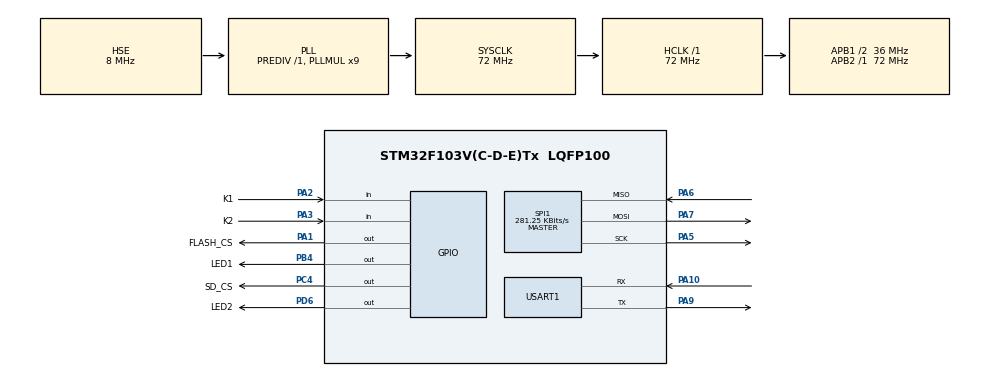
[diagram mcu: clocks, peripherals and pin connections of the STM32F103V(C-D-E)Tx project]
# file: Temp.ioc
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Mcu.Family=STM32F1
Mcu.Name=STM32F103V(C-D-E)Tx
Mcu.Package=LQFP100
NVIC.PriorityGroup=NVIC_PRIORITYGROUP_4
NVIC.USART1_IRQn=true\:0\:0\:false\:false\:true\:true\:true\:true
OSC_IN.Mode=HSE-External-Oscillator
OSC_IN.Signal=RCC_OSC_IN
OSC_OUT.Mode=HSE-External-Oscillator
OSC_OUT.Signal=RCC_OSC_OUT
PA1.GPIO_Label=FLASH_CS
PA1.GPIO_ModeDefaultOutputPP=GPIO_MODE_OUTPUT_PP
PA1.GPIO_PuPd=GPIO_PULLUP
PA1.GPIO_Speed=GPIO_SPEED_FREQ_HIGH
PA1.PinState=GPIO_PIN_SET
PA1.Signal=GPIO_Output
PA10.Mode=Asynchronous
PA10.Signal=USART1_RX
PA13.Mode=Serial_Wire
PA13.Signal=SYS_JTMS-SWDIO
PA14.Mode=Serial_Wire
PA14.Signal=SYS_JTCK-SWCLK
PA2.GPIO_Label=K1
PA2.Signal=GPIO_Input
PA3.GPIO_Label=K2
PA3.Signal=GPIO_Input
PA5.Mode=Full_Duplex_Master
PA5.Signal=SPI1_SCK
PA6.Mode=Full_Duplex_Master
PA6.Signal=SPI1_MISO
PA7.Mode=Full_Duplex_Master
PA7.Signal=SPI1_MOSI
PA9.Mode=Asynchronous
PA9.Signal=USART1_TX
PB4.GPIO_Label=LED1
PB4.GPIO_ModeDefaultOutputPP=GPIO_MODE_OUTPUT_PP
PB4.GPIO_PuPd=GPIO_PULLUP
PB4.GPIO_Speed=GPIO_SPEED_FREQ_HIGH
PB4.PinState=GPIO_PIN_SET
PB4.Signal=GPIO_Output
PC14-OSC32_IN.Mode=LSE-External-Oscillator
PC14-OSC32_IN.Signal=RCC_OSC32_IN
PC15-OSC32_OUT.Mode=LSE-External-Oscillator
PC15-OSC32_OUT.Signal=RCC_OSC32_OUT
PC4.GPIO_Label=SD_CS
PC4.GPIO_ModeDefaultOutputPP=GPIO_MODE_OUTPUT_PP
PC4.GPIO_PuPd=GPIO_PULLUP
PC4.GPIO_Speed=GPIO_SPEED_FREQ_HIGH
PC4.PinState=GPIO_PIN_SET
PC4.Signal=GPIO_Output
PD6.GPIO_Label=LED2
PD6.GPIO_ModeDefaultOutputPP=GPIO_MODE_OUTPUT_PP
PD6.GPIO_PuPd=GPIO_PULLUP
PD6.GPIO_Speed=GPIO_SPEED_FREQ_HIGH
PD6.PinState=GPIO_PIN_SET
PD6.Signal=GPIO_Output
ProjectManager.HeapSize=0x200
ProjectManager.StackSize=0x400
ProjectManager.TargetToolchain=MDK-ARM V5.32
RCC.AHBFreq_Value=72000000
RCC.APB1CLKDivider=RCC_HCLK_DIV2
RCC.APB1Freq_Value=36000000
RCC.APB1TimFreq_Value=72000000
RCC.APB2Freq_Value=72000000
RCC.APB2TimFreq_Value=72000000
RCC.HCLKFreq_Value=72000000
RCC.PLLMUL=RCC_PLL_MUL9
RCC.PLLSourceVirtual=RCC_PLLSOURCE_HSE
RCC.RCC_MCOSource=RCC_MCO1SOURCE_PLLCLK
RCC.SYSCLKFreq_VALUE=72000000
RCC.SYSCLKSource=RCC_SYSCLKSOURCE_PLLCLK
RCC.USBFreq_Value=72000000
SPI1.BaudRatePrescaler=SPI_BAUDRATEPRESCALER_256
SPI1.CLKPhase=SPI_PHASE_2EDGE
SPI1.CLKPolarity=SPI_POLARITY_HIGH
SPI1.CalculateBaudRate=281.25 KBits/s
SPI1.Direction=SPI_DIRECTION_2LINES
SPI1.Mode=SPI_MODE_MASTER
SPI1.VirtualType=VM_MASTER
USART1.VirtualMode=VM_ASYNC
board=custom

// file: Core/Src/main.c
/* USER CODE BEGIN Header */
/**
  ******************************************************************************
  * @file           : main.c
  * @brief          : Main program body
  ******************************************************************************
  * @attention
  *
  * Copyright (c) 2025 STMicroelectronics.
  * All rights reserved.
  *
  * This software is licensed under terms that can be found in the LICENSE file
  * in the root directory of this software component.
  * If no LICENSE file comes with this software, it is provided AS-IS.
  *
  ******************************************************************************
  */
/* USER CODE END Header */
#include "main.h"

/* USER CODE BEGIN Includes */
#include "stdio.h"
#include "bsp_sd_card.h"
/* USER CODE END Includes */

/* USER CODE BEGIN PTD */
uint8_t rx_buff[100];
uint8_t rx_done = 0;
uint8_t rx_cnt = 0;
/* USER CODE END PTD */

/* USER CODE BEGIN PD */
//SD_CardInfo SD_Info;
/* USER CODE END PD */

SPI_HandleTypeDef hspi1;

UART_HandleTypeDef huart1;

void SystemClock_Config(void);
static void MX_GPIO_Init(void);
static void MX_USART1_UART_Init(void);
static void MX_SPI1_Init(void);
/* USER CODE BEGIN PFP */
// 测试用缓冲区
uint8_t write_buffer[512];
uint8_t read_buffer[512];

// 填充测试数据（0x00~0xFF循环）
void fill_test_pattern(uint8_t* buf) {
    for (uint16_t i = 0; i < 512; i++) {
        buf[i] = i % 256;
    }
}

// 数据校验函数
uint8_t verify_data(uint8_t* buf1, uint8_t* buf2) {
    for (uint16_t i = 0; i < 512; i++) {
        if (buf1[i] != buf2[i]) {
            printf("Data is inconsistent @ offset %d: Written=0x%02X, Read=0x%02X\r\n", i, buf1[i], buf2[i]);
            return 0;
        }
    }
    return 1;
}
/* USER CODE END PFP */

int main(void)
{

  /* MCU Configuration--------------------------------------------------------*/

  /* Reset of all peripherals, Initializes the Flash interface and the Systick. */
  HAL_Init();

  /* Configure the system clock */
  SystemClock_Config();

  /* Initialize all configured peripherals */
  MX_GPIO_Init();
  MX_USART1_UART_Init();
  MX_SPI1_Init();
  /* USER CODE BEGIN 2 */
    printf("\r\n===== SD Card Read/Write Test Start =====\r\n\r\n");

    // 1. Initialize SD Card
    uint8_t ret = SD_Init();
    if (ret != 0) {
        printf("[ERROR] SD Card Initialization Failed. Error Code: 0x%02X\r\n", ret);
        while(1); // Halt if initialization fails
    }
    printf("[INFO] SD Card Initialized Successfully!\r\n");

    // 2. Get and Display Capacity Information
    uint32_t capacity = SD_GetCapacity();
    printf("[INFO] Total Sectors: %lu (Approx %.2f GB)\r\n",
           capacity, (float)capacity * 512 / 1000 / 1000 / 1000);

    // 3. Prepare Test Data
    fill_test_pattern(write_buffer);
    const uint32_t test_sector = 1000; // Test sector (avoid overwriting critical data)

    // 4. Write Test
    printf("[TEST] Writing to Sector %lu...\r\n", test_sector);
    ret = SD_WriteBlock(test_sector, write_buffer);
    if (ret != 0) {
        printf("[ERROR] Sector Write Failed. Error Code: 0x%02X\r\n", ret);
        while(1);
    }
    printf("[TEST] Write Successful. Waiting 1 second...\r\n");
    HAL_Delay(1000); // Ensure data is physically written

    // 5. Read Test
    printf("[TEST] Reading from Sector %lu...\r\n", test_sector);
    ret = SD_ReadBlock(test_sector, read_buffer);
    if (ret != 0) {
        printf("[ERROR] Sector Read Failed. Error Code: 0x%02X\r\n", ret);
        while(1);
    }

    // 6. Data Verification
    printf("[TEST] Verifying Data...\r\n");
    if (verify_data(write_buffer, read_buffer)) {
        printf("[RESULT] Test Passed! Read/Write Data Matched!\r\n");
    } else {
        printf("[ERROR] Test Failed! Data Mismatch Detected!\r\n");
    }

  printf("\r\n================== Test Completed ===========\r\n");
  /* USER CODE END 2 */

  /* Infinite loop */
  while (1)
  {

    /* USER CODE BEGIN 3 */
    if(rx_done == 1)
    {
        rx_done = 0;

        printf("length of rx data: %d!\r\n",rx_cnt);
        for(int i = 0;i<rx_cnt;i++) printf("%c",rx_buff[i]);
        printf("\r\n");

        rx_cnt =0;
    }
    HAL_GPIO_TogglePin(LED1_GPIO_Port, LED1_Pin);
  }
  /* USER CODE END 3 */
}

void SystemClock_Config(void)
{
  RCC_OscInitTypeDef RCC_OscInitStruct = {0};
  RCC_ClkInitTypeDef RCC_ClkInitStruct = {0};

  /** Initializes the RCC Oscillators according to the specified parameters
  * in the RCC_OscInitTypeDef structure.
  */
  RCC_OscInitStruct.OscillatorType = RCC_OSCILLATORTYPE_HSE;
  RCC_OscInitStruct.HSEState = RCC_HSE_ON;
  RCC_OscInitStruct.HSEPredivValue = RCC_HSE_PREDIV_DIV1;
  RCC_OscInitStruct.HSIState = RCC_HSI_ON;
  RCC_OscInitStruct.PLL.PLLState = RCC_PLL_ON;
  RCC_OscInitStruct.PLL.PLLSource = RCC_PLLSOURCE_HSE;
  RCC_OscInitStruct.PLL.PLLMUL = RCC_PLL_MUL9;
  if (HAL_RCC_OscConfig(&RCC_OscInitStruct) != HAL_OK)
  {
    Error_Handler();
  }

  /** Initializes the CPU, AHB and APB buses clocks
  */
  RCC_ClkInitStruct.ClockType = RCC_CLOCKTYPE_HCLK|RCC_CLOCKTYPE_SYSCLK
                              |RCC_CLOCKTYPE_PCLK1|RCC_CLOCKTYPE_PCLK2;
  RCC_ClkInitStruct.SYSCLKSource = RCC_SYSCLKSOURCE_PLLCLK;
  RCC_ClkInitStruct.AHBCLKDivider = RCC_SYSCLK_DIV1;
  RCC_ClkInitStruct.APB1CLKDivider = RCC_HCLK_DIV2;
  RCC_ClkInitStruct.APB2CLKDivider = RCC_HCLK_DIV1;

  if (HAL_RCC_ClockConfig(&RCC_ClkInitStruct, FLASH_LATENCY_2) != HAL_OK)
  {
    Error_Handler();
  }
}

static void MX_SPI1_Init(void)
{

  /* SPI1 parameter configuration*/
  hspi1.Instance = SPI1;
  hspi1.Init.Mode = SPI_MODE_MASTER;
  hspi1.Init.Direction = SPI_DIRECTION_2LINES;
  hspi1.Init.DataSize = SPI_DATASIZE_8BIT;
  hspi1.Init.CLKPolarity = SPI_POLARITY_HIGH;
  hspi1.Init.CLKPhase = SPI_PHASE_2EDGE;
  hspi1.Init.NSS = SPI_NSS_SOFT;
  hspi1.Init.BaudRatePrescaler = SPI_BAUDRATEPRESCALER_256;
  hspi1.Init.FirstBit = SPI_FIRSTBIT_MSB;
  hspi1.Init.TIMode = SPI_TIMODE_DISABLE;
  hspi1.Init.CRCCalculation = SPI_CRCCALCULATION_DISABLE;
  hspi1.Init.CRCPolynomial = 10;
  if (HAL_SPI_Init(&hspi1) != HAL_OK)
  {
    Error_Handler();
  }
  /* USER CODE BEGIN SPI1_Init 2 */
	__HAL_SPI_ENABLE(&hspi1);

  /* USER CODE END SPI1_Init 2 */

}

static void MX_USART1_UART_Init(void)
{

  huart1.Instance = USART1;
  huart1.Init.BaudRate = 115200;
  huart1.Init.WordLength = UART_WORDLENGTH_8B;
  huart1.Init.StopBits = UART_STOPBITS_1;
  huart1.Init.Parity = UART_PARITY_NONE;
  huart1.Init.Mode = UART_MODE_TX_RX;
  huart1.Init.HwFlowCtl = UART_HWCONTROL_NONE;
  huart1.Init.OverSampling = UART_OVERSAMPLING_16;
  if (HAL_UART_Init(&huart1) != HAL_OK)
  {
    Error_Handler();
  }
  /* USER CODE BEGIN USART1_Init 2 */
  __HAL_UART_ENABLE_IT(&huart1,UART_IT_IDLE|UART_IT_RXNE);
  /* USER CODE END USART1_Init 2 */

}

static void MX_GPIO_Init(void)
{
  GPIO_InitTypeDef GPIO_InitStruct = {0};

  /* GPIO Ports Clock Enable */
  __HAL_RCC_GPIOC_CLK_ENABLE();
  __HAL_RCC_GPIOA_CLK_ENABLE();
  __HAL_RCC_GPIOD_CLK_ENABLE();
  __HAL_RCC_GPIOB_CLK_ENABLE();

  /*Configure GPIO pin Output Level */
  HAL_GPIO_WritePin(FLASH_CS_GPIO_Port, FLASH_CS_Pin, GPIO_PIN_SET);

  /*Configure GPIO pin Output Level */
  HAL_GPIO_WritePin(SD_CS_GPIO_Port, SD_CS_Pin, GPIO_PIN_SET);

  /*Configure GPIO pin Output Level */
  HAL_GPIO_WritePin(LED2_GPIO_Port, LED2_Pin, GPIO_PIN_SET);

  /*Configure GPIO pin Output Level */
  HAL_GPIO_WritePin(LED1_GPIO_Port, LED1_Pin, GPIO_PIN_SET);

  /*Configure GPIO pin : FLASH_CS_Pin */
  GPIO_InitStruct.Pin = FLASH_CS_Pin;
  GPIO_InitStruct.Mode = GPIO_MODE_OUTPUT_PP;
  GPIO_InitStruct.Pull = GPIO_PULLUP;
  GPIO_InitStruct.Speed = GPIO_SPEED_FREQ_HIGH;
  HAL_GPIO_Init(FLASH_CS_GPIO_Port, &GPIO_InitStruct);

  /*Configure GPIO pins : K1_Pin K2_Pin */
  GPIO_InitStruct.Pin = K1_Pin|K2_Pin;
  GPIO_InitStruct.Mode = GPIO_MODE_INPUT;
  GPIO_InitStruct.Pull = GPIO_NOPULL;
  HAL_GPIO_Init(GPIOA, &GPIO_InitStruct);

  /*Configure GPIO pin : SD_CS_Pin */
  GPIO_InitStruct.Pin = SD_CS_Pin;
  GPIO_InitStruct.Mode = GPIO_MODE_OUTPUT_PP;
  GPIO_InitStruct.Pull = GPIO_PULLUP;
  GPIO_InitStruct.Speed = GPIO_SPEED_FREQ_HIGH;
  HAL_GPIO_Init(SD_CS_GPIO_Port, &GPIO_InitStruct);

  /*Configure GPIO pin : LED2_Pin */
  GPIO_InitStruct.Pin = LED2_Pin;
  GPIO_InitStruct.Mode = GPIO_MODE_OUTPUT_PP;
  GPIO_InitStruct.Pull = GPIO_PULLUP;
  GPIO_InitStruct.Speed = GPIO_SPEED_FREQ_HIGH;
  HAL_GPIO_Init(LED2_GPIO_Port, &GPIO_InitStruct);

  /*Configure GPIO pin : LED1_Pin */
  GPIO_InitStruct.Pin = LED1_Pin;
  GPIO_InitStruct.Mode = GPIO_MODE_OUTPUT_PP;
  GPIO_InitStruct.Pull = GPIO_PULLUP;
  GPIO_InitStruct.Speed = GPIO_SPEED_FREQ_HIGH;
  HAL_GPIO_Init(LED1_GPIO_Port, &GPIO_InitStruct);

}

/* USER CODE BEGIN 4 */
#ifdef __GNUC__
#define PUTCHAR_PROTOTYPE int __io_putchar(int ch)
#else
#define PUTCHAR_PROTOTYPE int fputc(int ch,FILE *f)
#endif /* __GNUC__ */

PUTCHAR_PROTOTYPE
{
    HAL_UART_Transmit(&huart1,(uint8_t *)&ch,1,HAL_MAX_DELAY);
    return ch;
}
/* USER CODE END 4 */

void Error_Handler(void)
{
  __disable_irq();
  while (1)
  {
  }
}
